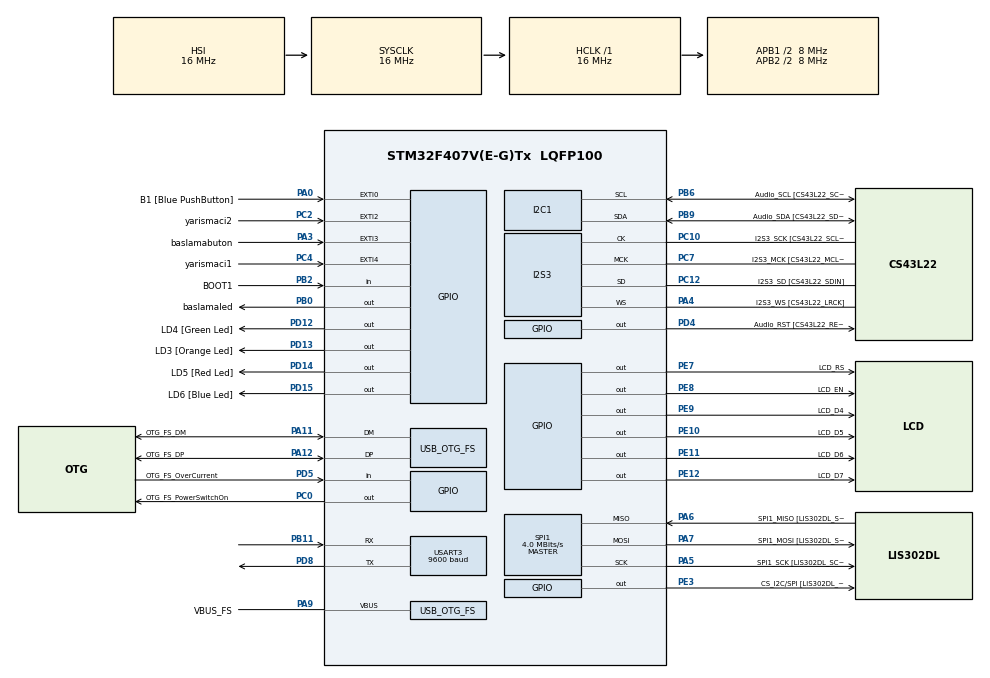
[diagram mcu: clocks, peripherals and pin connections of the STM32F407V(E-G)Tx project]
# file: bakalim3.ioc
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I2S3.AudioFreq=I2S_AUDIOFREQ_96K
I2S3.AudioFreq-Half_Duplex_Master=I2S_AUDIOFREQ_96K
I2S3.ErrorAudioFreq=- %
I2S3.ErrorAudioFreq-Half_Duplex_Master=0.8 %
I2S3.FullDuplexMode=I2S_FULLDUPLEXMODE_DISABLE
I2S3.Instance=SPI$Index
I2S3.RealAudioFreq=- Hz
I2S3.RealAudioFreq-Half_Duplex_Master=96.774 KHz
I2S3.VirtualMode=I2S_MODE_MASTER
Mcu.Family=STM32F4
Mcu.Name=STM32F407V(E-G)Tx
Mcu.Package=LQFP100
NVIC.EXTI2_IRQn=true\:1\:0\:true\:false\:true\:true\:true
NVIC.EXTI3_IRQn=true\:2\:0\:true\:false\:true\:true\:true
NVIC.EXTI4_IRQn=true\:1\:0\:true\:false\:true\:true\:true
NVIC.OTG_FS_IRQn=true\:0\:0\:false\:false\:true\:true\:true
NVIC.PriorityGroup=NVIC_PRIORITYGROUP_3
NVIC.TIM2_IRQn=true\:0\:0\:false\:false\:true\:true\:true
NVIC.USART3_IRQn=true\:0\:0\:false\:false\:true\:true\:true
PA0-WKUP.GPIO_Label=B1 [Blue PushButton]
PA0-WKUP.GPIO_ModeDefaultEXTI=GPIO_MODE_EVT_RISING
PA0-WKUP.GPIO_PuPd=GPIO_NOPULL
PA0-WKUP.Signal=GPXTI0
PA10.GPIO_Label=OTG_FS_ID
PA10.GPIO_Mode=GPIO_MODE_AF_PP
PA10.GPIO_PuPd=GPIO_NOPULL
PA10.GPIO_Speed=GPIO_SPEED_FREQ_LOW
PA10.Signal=USB_OTG_FS_ID
PA11.GPIO_Label=OTG_FS_DM
PA11.GPIO_Mode=GPIO_MODE_AF_PP
PA11.GPIO_PuPd=GPIO_NOPULL
PA11.GPIO_Speed=GPIO_SPEED_FREQ_LOW
PA11.Mode=Host_Only
PA11.Signal=USB_OTG_FS_DM
PA12.GPIO_Label=OTG_FS_DP
PA12.GPIO_Mode=GPIO_MODE_AF_PP
PA12.GPIO_PuPd=GPIO_NOPULL
PA12.GPIO_Speed=GPIO_SPEED_FREQ_LOW
PA12.Mode=Host_Only
PA12.Signal=USB_OTG_FS_DP
PA13.GPIO_Label=SWDIO
PA13.Mode=Serial_Wire
PA13.Signal=SYS_JTMS-SWDIO
PA14.GPIO_Label=SWCLK
PA14.Mode=Serial_Wire
PA14.Signal=SYS_JTCK-SWCLK
PA3.GPIO_Label=baslamabuton
PA3.GPIO_PuPd=GPIO_PULLDOWN
PA3.Signal=GPXTI3
PA4.GPIO_Label=I2S3_WS [CS43L22_LRCK]
PA4.GPIO_Mode=GPIO_MODE_AF_PP
PA4.GPIO_PuPd=GPIO_NOPULL
PA4.GPIO_Speed=GPIO_SPEED_FREQ_LOW
PA4.Mode=Half_Duplex_Master
PA4.Signal=I2S3_WS
PA5.GPIO_Label=SPI1_SCK [LIS302DL_SCL/SPC]
PA5.GPIO_Mode=GPIO_MODE_AF_PP
PA5.GPIO_PuPd=GPIO_NOPULL
PA5.GPIO_Speed=GPIO_SPEED_FREQ_LOW
PA5.Mode=Full_Duplex_Master
PA5.Signal=SPI1_SCK
PA6.GPIO_Label=SPI1_MISO [LIS302DL_SDO]
PA6.GPIO_Mode=GPIO_MODE_AF_PP
PA6.GPIO_PuPd=GPIO_NOPULL
PA6.GPIO_Speed=GPIO_SPEED_FREQ_LOW
PA6.Mode=Full_Duplex_Master
PA6.Signal=SPI1_MISO
PA7.GPIO_Label=SPI1_MOSI [LIS302DL_SDA/SDI/SDO]
PA7.GPIO_Mode=GPIO_MODE_AF_PP
PA7.GPIO_PuPd=GPIO_NOPULL
PA7.GPIO_Speed=GPIO_SPEED_FREQ_LOW
PA7.Mode=Full_Duplex_Master
PA7.Signal=SPI1_MOSI
PA9.GPIO_Label=VBUS_FS
PA9.GPIO_Mode=GPIO_MODE_INPUT
PA9.GPIO_PuPd=GPIO_NOPULL
PA9.Mode=Activate_VBUS
PA9.Signal=USB_OTG_FS_VBUS
PB0.GPIO_Label=baslamaled
PB0.Signal=GPIO_Output
PB10.GPIO_Label=CLK_IN [MP45DT02_CLK]
PB10.GPIO_Mode=GPIO_MODE_AF_PP
PB10.GPIO_PuPd=GPIO_NOPULL
PB10.GPIO_Speed=GPIO_SPEED_FREQ_LOW
PB10.Signal=I2S2_CK
PB11.Mode=Asynchronous
PB11.Signal=USART3_RX
PB2.GPIO_Label=BOOT1
PB2.GPIO_Mode=GPIO_MODE_INPUT
PB2.GPIO_PuPd=GPIO_NOPULL
PB2.Signal=GPIO_Input
PB3.GPIO_Label=SWO
PB3.Signal=SYS_JTDO-SWO
PB6.GPIO_Label=Audio_SCL [CS43L22_SCL]
PB6.GPIO_Mode=GPIO_MODE_AF_OD
PB6.GPIO_PuPd=GPIO_NOPULL
PB6.GPIO_Speed=GPIO_SPEED_FREQ_LOW
PB6.Mode=I2C
PB6.Signal=I2C1_SCL
PB9.GPIO_Label=Audio_SDA [CS43L22_SDA]
PB9.GPIO_Mode=GPIO_MODE_AF_OD
PB9.GPIO_PuPd=GPIO_NOPULL
PB9.GPIO_Speed=GPIO_SPEED_FREQ_LOW
PB9.Mode=I2C
PB9.Signal=I2C1_SDA
PC0.GPIO_Label=OTG_FS_PowerSwitchOn
PC0.GPIO_PuPd=GPIO_NOPULL
PC0.GPIO_Speed=GPIO_SPEED_FREQ_LOW
PC0.PinState=GPIO_PIN_SET
PC0.Signal=GPIO_Output
PC10.GPIO_Label=I2S3_SCK [CS43L22_SCLK]
PC10.GPIO_Mode=GPIO_MODE_AF_PP
PC10.GPIO_PuPd=GPIO_NOPULL
PC10.GPIO_Speed=GPIO_SPEED_FREQ_LOW
PC10.Mode=Half_Duplex_Master
PC10.Signal=I2S3_CK
PC12.GPIO_Label=I2S3_SD [CS43L22_SDIN]
PC12.GPIO_Mode=GPIO_MODE_AF_PP
PC12.GPIO_PuPd=GPIO_NOPULL
PC12.GPIO_Speed=GPIO_SPEED_FREQ_LOW
PC12.Mode=Half_Duplex_Master
PC12.Signal=I2S3_SD
PC14-OSC32_IN.GPIO_Label=PC14-OSC32_IN
PC14-OSC32_IN.Mode=LSE-External-Oscillator
PC14-OSC32_IN.Signal=RCC_OSC32_IN
PC15-OSC32_OUT.GPIO_Label=PC15-OSC32_OUT
PC15-OSC32_OUT.Mode=LSE-External-Oscillator
PC15-OSC32_OUT.Signal=RCC_OSC32_OUT
PC2.GPIO_Label=yarismaci2
PC2.GPIO_PuPd=GPIO_PULLDOWN
PC2.Signal=GPXTI2
PC3.GPIO_Label=PDM_OUT [MP45DT02_DOUT]
PC3.GPIO_Mode=GPIO_MODE_AF_PP
PC3.GPIO_PuPd=GPIO_NOPULL
PC3.GPIO_Speed=GPIO_SPEED_FREQ_LOW
PC3.Signal=I2S2_SD
PC4.GPIO_Label=yarismaci1
PC4.GPIO_PuPd=GPIO_PULLDOWN
PC4.Signal=GPXTI4
PC7.GPIO_Label=I2S3_MCK [CS43L22_MCLK]
PC7.GPIO_Mode=GPIO_MODE_AF_PP
PC7.GPIO_PuPd=GPIO_NOPULL
PC7.GPIO_Speed=GPIO_SPEED_FREQ_LOW
PC7.Mode=Master_Clock_Activated
PC7.Signal=I2S3_MCK
PD12.GPIO_Label=LD4 [Green Led]
PD12.GPIO_PuPd=GPIO_NOPULL
PD12.GPIO_Speed=GPIO_SPEED_FREQ_LOW
PD12.Signal=GPIO_Output
PD13.GPIO_Label=LD3 [Orange Led]
PD13.GPIO_PuPd=GPIO_NOPULL
PD13.GPIO_Speed=GPIO_SPEED_FREQ_LOW
PD13.Signal=GPIO_Output
PD14.GPIO_Label=LD5 [Red Led]
PD14.GPIO_PuPd=GPIO_NOPULL
PD14.GPIO_Speed=GPIO_SPEED_FREQ_LOW
PD14.Signal=GPIO_Output
PD15.GPIO_Label=LD6 [Blue Led]
PD15.GPIO_PuPd=GPIO_NOPULL
PD15.GPIO_Speed=GPIO_SPEED_FREQ_LOW
PD15.Signal=GPIO_Output
PD4.GPIO_Label=Audio_RST [CS43L22_RESET]
PD4.GPIO_PuPd=GPIO_NOPULL
PD4.GPIO_Speed=GPIO_SPEED_FREQ_LOW
PD4.Signal=GPIO_Output
PD5.GPIO_Label=OTG_FS_OverCurrent
PD5.GPIO_Mode=GPIO_MODE_INPUT
PD5.GPIO_PuPd=GPIO_NOPULL
PD5.Signal=GPIO_Input
PD8.Mode=Asynchronous
PD8.Signal=USART3_TX
PE10.GPIO_Label=LCD_D5
PE10.Signal=GPIO_Output
PE11.GPIO_Label=LCD_D6
PE11.Signal=GPIO_Output
PE12.GPIO_Label=LCD_D7
PE12.Signal=GPIO_Output
PE3.GPIO_Label=CS_I2C/SPI [LIS302DL_CS_I2C/SPI]
PE3.GPIO_PuPd=GPIO_NOPULL
PE3.GPIO_Speed=GPIO_SPEED_FREQ_LOW
PE3.Signal=GPIO_Output
PE7.GPIO_Label=LCD_RS
PE7.Signal=GPIO_Output
PE8.GPIO_Label=LCD_EN
PE8.Signal=GPIO_Output
PE9.GPIO_Label=LCD_D4
PE9.Signal=GPIO_Output
PH0-OSC_IN.GPIO_Label=PH0-OSC_IN
PH0-OSC_IN.Mode=HSE-External-Oscillator
PH0-OSC_IN.Signal=RCC_OSC_IN
PH1-OSC_OUT.GPIO_Label=PH1-OSC_OUT
PH1-OSC_OUT.Mode=HSE-External-Oscillator
PH1-OSC_OUT.Signal=RCC_OSC_OUT
ProjectManager.HeapSize=0x200
ProjectManager.StackSize=0x400
ProjectManager.TargetToolchain=STM32CubeIDE
RCC.48MHZClocksFreq_Value=48000000
RCC.AHBFreq_Value=16000000
RCC.APB1CLKDivider=RCC_HCLK_DIV2
RCC.APB1Freq_Value=8000000
RCC.APB1TimFreq_Value=16000000
RCC.APB2CLKDivider=RCC_HCLK_DIV2
RCC.APB2Freq_Value=8000000
RCC.APB2TimFreq_Value=16000000
RCC.CortexFreq_Value=16000000
RCC.HCLKFreq_Value=16000000
RCC.HSE_VALUE=8000000
RCC.HSI_VALUE=16000000
RCC.PLLI2SN=50
RCC.PLLM=4
RCC.PLLN=72
RCC.PLLQ=3
RCC.SYSCLKFreq_VALUE=16000000
RCC.VCOOutputFreq_Value=144000000
SPI1.BaudRatePrescaler-Full_Duplex_Master=SPI_BAUDRATEPRESCALER_2
SPI1.CalculateBaudRate=4.0 MBits/s
SPI1.CalculateBaudRate-Full_Duplex_Master=42.0 MBits/s
SPI1.Direction=SPI_DIRECTION_2LINES
SPI1.Mode=SPI_MODE_MASTER
SPI1.Mode-Full_Duplex_Master=SPI_MODE_MASTER
SPI1.VirtualType=VM_MASTER
TIM2.Period=9
TIM2.Prescaler=15999
TIM9.Prescaler=15999
USART3.BaudRate=9600
USART3.VirtualMode=VM_ASYNC
USB_HOST.BSP.number=1
USB_HOST.USBH_HandleTypeDef-CDC_FS=hUsbHostFS
USB_HOST.VirtualModeFS=Cdc
USB_HOST0.BSP.STBoard=false
USB_HOST0.BSP.api=Unknown
USB_HOST0.BSP.i2caddr=0
USB_HOST0.BSP.i2creg=0
USB_HOST0.BSP.instance=PC0
USB_HOST0.BSP.ip=GPIO
USB_HOST0.BSP.mode=Output
USB_HOST0.BSP.name=Drive_VBUS_FS
USB_HOST0.BSP.solution=PC0
USB_OTG_FS.VirtualMode=Host_Only
USB_OTG_FS.phy_itface=HCD_PHY_EMBEDDED
VP_TIM2_VS_ClockSourceINT.Mode=Internal
VP_TIM9_VS_ClockSourceINT.Mode=Internal
VP_USB_HOST_VS_USB_HOST_CDC_FS.Mode=CDC_FS
board=STM32F407G-DISC1

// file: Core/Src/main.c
/* USER CODE BEGIN Header */
/**
 ******************************************************************************
 * @file           : main.c
 * @brief          : Main program body
 ******************************************************************************
 * @attention
 *
 * <h2><center>&copy; Copyright (c) 2021 STMicroelectronics.
 * All rights reserved.</center></h2>
 *
 * This software component is licensed by ST under Ultimate Liberty license
 * SLA0044, the "License"; You may not use this file except in compliance with
 * the License. You may obtain a copy of the License at:
 *                             www.st.com/SLA0044
 *
 ******************************************************************************
 */
/* USER CODE END Header */
#include "main.h"
#include "usb_host.h"

/* USER CODE BEGIN Includes */
#include "stdlib.h"
#include "time.h"
#include <stdio.h>
#include "LCD.h"
#include "string.h"

/* USER CODE END Includes */

I2C_HandleTypeDef hi2c1;

I2S_HandleTypeDef hi2s3;

SPI_HandleTypeDef hspi1;

TIM_HandleTypeDef htim2;
TIM_HandleTypeDef htim9;

UART_HandleTypeDef huart3;

/* USER CODE BEGIN PV */

char mesaj[16];
int count = 0;

char tx_buffer[32];
int isimGirildiBayrak = 0;
int ledbayragi = 0;
int hatabayragi = 0;
int yarismaci1bayrak = 0;
int yarismaci2bayrak = 0;
int saniye1 = 0;
int saniye2 = 0;
int baslabayragi = 0;
char veri[16] = { 0 };
char veri2[16] = { 0 };

char isim1[16];
char isim2[16];
char Rx_data[1];
char message[16];
char gelcek[16];
int isimAlmaBayrak = 0;
int i = 0;
int isim1skor = 0;
int isim2skor = 0;
char isim1sayac[4];
char isim2sayac[4];
char isim11[16];
char isim22[16];
char isim11sayac[4];

/* USER CODE END PV */

void SystemClock_Config(void);
static void MX_GPIO_Init(void);
static void MX_I2C1_Init(void);
static void MX_I2S3_Init(void);
static void MX_SPI1_Init(void);
static void MX_TIM2_Init(void);
static void MX_TIM9_Init(void);
static void MX_USART3_UART_Init(void);
void MX_USB_HOST_Process(void);

/* USER CODE BEGIN PFP */
void mydelay(int delay);
void kirmalimydelay(int delay);

/* USER CODE END PFP */

/* USER CODE BEGIN 0 */
void kirmalimydelay(int delay) {
	htim9.Instance->CNT = 0;
	HAL_TIM_Base_Start(&htim9);
	while (htim9.Instance->CNT < delay) {
		if (hatabayragi == 1) {
			break;
		}
	}
}
void mydelay(int delay) {
	htim9.Instance->CNT = 0;
	HAL_TIM_Base_Start(&htim9);
	while (htim9.Instance->CNT < delay) {
	}
}

void isimsiz1_hatalibasim_yazdirma(void) {
	lcd_clear();
	mydelay(100);
	hatabayragi = 1;
	lcd_print(1, 1, "1.Yarismaci");
	mydelay(100);
	lcd_print(2, 1, "Elendi...");
	mydelay(5000);
}
void isimsiz2_hatalibasim_yazdirma(void) {
	lcd_clear();
	mydelay(100);
	lcd_print(1, 1, "2.Yarismaci");
	mydelay(100);
	hatabayragi = 1;
	lcd_print(2, 1, "Elendi...");
	mydelay(5000);
}
void isimli1_hatalibasim_yazdirma(void) {
	lcd_clear();
	mydelay(100);
	hatabayragi = 1;
	lcd_print(1, 1, isim1);
	mydelay(100);
	lcd_print(2, 1, "Elendi...");
	mydelay(5000);

}
void isimli2_hatalibasim_yazdirma(void) {
	lcd_clear();
	mydelay(100);
	lcd_print(1, 1, isim2);
	mydelay(100);
	hatabayragi = 1;
	lcd_print(2, 1, "Elendi...");
	mydelay(5000);

}
void isimli_sureleri_yazdir(void) {
	lcd_clear();
	mydelay(100);
	lcd_print(1, 1, isim1);
	mydelay(100);
	sprintf(mesaj, "%d msn", saniye1);
	lcd_print(1, 9, mesaj);
	mydelay(100);
	lcd_print(2, 1, isim2);
	sprintf(mesaj, "%d msn", saniye2);
	lcd_print(2, 9, mesaj);
	mydelay(3000);

}
void isimli_kazanan_1_yazdirma_gonderme(void) {
	lcd_clear();
	mydelay(200);
	lcd_print(1, 1, isim1);
	mydelay(100);
	lcd_print(2, 1, "Kazandi.");
	strcpy(isim11, isim1);
	strcat(isim11, "|");
	HAL_UART_Transmit(&huart3, isim11, strlen(isim11), 1000);
	isim1skor = isim1skor + 1;
	itoa(isim1skor, isim1sayac, 10);
	itoa(isim2skor, isim2sayac, 10);
	strcpy(isim11sayac, isim1sayac);
	strcat(isim11sayac, "|");
	HAL_UART_Transmit(&huart3, isim11sayac, strlen(isim11sayac), 1000);
	HAL_UART_Transmit(&huart3, isim2sayac, strlen(isim2sayac), 1000);
	strcpy(isim11, "");
	mydelay(3000);

}
void isimli_kazanan_2_yazdirma_gonderme(void) {
	lcd_clear();
	mydelay(100);
	lcd_print(1, 1, isim2);
	mydelay(100);
	lcd_print(2, 1, "Kazandi.");
	strcpy(isim22, isim2);
	strcat(isim22, "|");
	HAL_UART_Transmit(&huart3, isim22, strlen(isim22), 1000);
	isim2skor = isim2skor + 1;
	itoa(isim1skor, isim1sayac, 10);
	itoa(isim2skor, isim2sayac, 10);
	strcpy(isim11sayac, isim1sayac);
	strcat(isim11sayac, "|");
	HAL_UART_Transmit(&huart3, isim11sayac, strlen(isim11sayac), 1000);
	HAL_UART_Transmit(&huart3, isim2sayac, strlen(isim2sayac), 1000);
	mydelay(3000);
}
void isimsiz_sureleri_yazdir() {
	lcd_clear();
	mydelay(100);
	sprintf(mesaj, "1.time : %d msn", saniye1);
	lcd_print(1, 1, mesaj);
	mydelay(100);
	sprintf(mesaj, "2.time : %d msn", saniye2);
	lcd_print(2, 1, mesaj);
	mydelay(3000);
}
void isimsiz_kazanan_1_yazdirma(void) {
	lcd_clear();
	mydelay(100);
	lcd_print(1, 1, "1.Yarismaci");
	mydelay(100);
	lcd_print(2, 1, "Kazandi.");
	mydelay(3000);

}
void isimsiz_kazanan_2_yazdirma(void) {
	lcd_clear();
	mydelay(100);
	lcd_print(1, 1, "2.Yarismaci");
	mydelay(100);
	lcd_print(2, 1, "Kazandi.");
	mydelay(3000);

}

/* USER CODE END 0 */

int main(void) {

	/* MCU Configuration--------------------------------------------------------*/

	/* Reset of all peripherals, Initializes the Flash interface and the Systick. */
	HAL_Init();

	/* Configure the system clock */
	SystemClock_Config();

	/* Initialize all configured peripherals */
	MX_GPIO_Init();
	MX_I2C1_Init();
	MX_I2S3_Init();
	MX_SPI1_Init();
	MX_USB_HOST_Init();
	MX_TIM2_Init();
	MX_TIM9_Init();
	MX_USART3_UART_Init();
	/* USER CODE BEGIN 2 */
	lcd_init(_LCD_4BIT, _LCD_FONT_5x8, _LCD_2LINE);
	mydelay(50);
	lcd_clear();
	mydelay(50);
	srand(time(NULL));
	HAL_UART_Receive_IT(&huart3, Rx_data, 1);
	strcpy(isim1, "");
	strcpy(isim2, "");
	strcpy(gelcek, "");

	/* USER CODE END 2 */

	/* Infinite loop */
	while (1) {
		MX_USB_HOST_Process();

		/* USER CODE BEGIN 3 */
		HAL_TIM_Base_Stop_IT(&htim2);
		ledbayragi = 0;
		HAL_GPIO_WritePin(baslamaled_GPIO_Port, baslamaled_Pin, 0);
		hatabayragi = 0;
		baslabayragi = 0;
		yarismaci1bayrak = 0;
		yarismaci2bayrak = 0;
		saniye1 = 0;
		saniye2 = 0;
		lcd_clear();
		mydelay(100);
		lcd_print(1, 1, "Basla Veya");
		mydelay(100);
		lcd_print(2, 1, "Isim Gir...");
		mydelay(100);
		while (1) {
			if (isimAlmaBayrak == 1) {
				strcpy(isim1, message);
				isimAlmaBayrak = 0;
				isim1skor = 0;
				strcpy(message, "");
				isim2skor = 0;
				break;
			}
			if (baslabayragi == 1) {
				break;
			}
		}
		mydelay(50);
		while (1) {
			if (isimAlmaBayrak == 1) {
				strcpy(isim2, message);
				isimAlmaBayrak = 0;
				isim1skor = 0;
				isim2skor = 0;
				isimGirildiBayrak = 1;
				strcpy(message, "");
				break;
			}
			if (baslabayragi == 1) {
				break;
			}
		}
		lcd_clear();
		mydelay(100);
		lcd_print(1, 1, isim1);
		mydelay(100);
		lcd_print(1, 13, "VS");
		mydelay(100);
		lcd_print(2, 1, isim2);
		while (1) {
			if (baslabayragi == 1) {
				break;
			}
		}
	}
	/* USER CODE END 3 */
}

void SystemClock_Config(void) {
	RCC_OscInitTypeDef RCC_OscInitStruct = { 0 };
	RCC_ClkInitTypeDef RCC_ClkInitStruct = { 0 };
	RCC_PeriphCLKInitTypeDef PeriphClkInitStruct = { 0 };

	/** Configure the main internal regulator output voltage
	 */
	__HAL_RCC_PWR_CLK_ENABLE();
	__HAL_PWR_VOLTAGESCALING_CONFIG(PWR_REGULATOR_VOLTAGE_SCALE1);
	/** Initializes the RCC Oscillators according to the specified parameters
	 * in the RCC_OscInitTypeDef structure.
	 */
	RCC_OscInitStruct.OscillatorType = RCC_OSCILLATORTYPE_HSI
			| RCC_OSCILLATORTYPE_HSE;
	RCC_OscInitStruct.HSEState = RCC_HSE_ON;
	RCC_OscInitStruct.HSIState = RCC_HSI_ON;
	RCC_OscInitStruct.HSICalibrationValue = RCC_HSICALIBRATION_DEFAULT;
	RCC_OscInitStruct.PLL.PLLState = RCC_PLL_ON;
	RCC_OscInitStruct.PLL.PLLSource = RCC_PLLSOURCE_HSE;
	RCC_OscInitStruct.PLL.PLLM = 8;
	RCC_OscInitStruct.PLL.PLLN = 336;
	RCC_OscInitStruct.PLL.PLLP = RCC_PLLP_DIV2;
	RCC_OscInitStruct.PLL.PLLQ = 7;
	if (HAL_RCC_OscConfig(&RCC_OscInitStruct) != HAL_OK) {
		Error_Handler();
	}
	/** Initializes the CPU, AHB and APB buses clocks
	 */
	RCC_ClkInitStruct.ClockType = RCC_CLOCKTYPE_HCLK | RCC_CLOCKTYPE_SYSCLK
			| RCC_CLOCKTYPE_PCLK1 | RCC_CLOCKTYPE_PCLK2;
	RCC_ClkInitStruct.SYSCLKSource = RCC_SYSCLKSOURCE_HSI;
	RCC_ClkInitStruct.AHBCLKDivider = RCC_SYSCLK_DIV1;
	RCC_ClkInitStruct.APB1CLKDivider = RCC_HCLK_DIV2;
	RCC_ClkInitStruct.APB2CLKDivider = RCC_HCLK_DIV2;

	if (HAL_RCC_ClockConfig(&RCC_ClkInitStruct, FLASH_LATENCY_0) != HAL_OK) {
		Error_Handler();
	}
	PeriphClkInitStruct.PeriphClockSelection = RCC_PERIPHCLK_I2S;
	PeriphClkInitStruct.PLLI2S.PLLI2SN = 192;
	PeriphClkInitStruct.PLLI2S.PLLI2SR = 2;
	if (HAL_RCCEx_PeriphCLKConfig(&PeriphClkInitStruct) != HAL_OK) {
		Error_Handler();
	}
}

static void MX_I2C1_Init(void) {

	hi2c1.Instance = I2C1;
	hi2c1.Init.ClockSpeed = 100000;
	hi2c1.Init.DutyCycle = I2C_DUTYCYCLE_2;
	hi2c1.Init.OwnAddress1 = 0;
	hi2c1.Init.AddressingMode = I2C_ADDRESSINGMODE_7BIT;
	hi2c1.Init.DualAddressMode = I2C_DUALADDRESS_DISABLE;
	hi2c1.Init.OwnAddress2 = 0;
	hi2c1.Init.GeneralCallMode = I2C_GENERALCALL_DISABLE;
	hi2c1.Init.NoStretchMode = I2C_NOSTRETCH_DISABLE;
	if (HAL_I2C_Init(&hi2c1) != HAL_OK) {
		Error_Handler();
	}

}

static void MX_I2S3_Init(void) {

	hi2s3.Instance = SPI3;
	hi2s3.Init.Mode = I2S_MODE_MASTER_TX;
	hi2s3.Init.Standard = I2S_STANDARD_PHILIPS;
	hi2s3.Init.DataFormat = I2S_DATAFORMAT_16B;
	hi2s3.Init.MCLKOutput = I2S_MCLKOUTPUT_ENABLE;
	hi2s3.Init.AudioFreq = I2S_AUDIOFREQ_96K;
	hi2s3.Init.CPOL = I2S_CPOL_LOW;
	hi2s3.Init.ClockSource = I2S_CLOCK_PLL;
	hi2s3.Init.FullDuplexMode = I2S_FULLDUPLEXMODE_DISABLE;
	if (HAL_I2S_Init(&hi2s3) != HAL_OK) {
		Error_Handler();
	}

}

static void MX_SPI1_Init(void) {

	/* SPI1 parameter configuration*/
	hspi1.Instance = SPI1;
	hspi1.Init.Mode = SPI_MODE_MASTER;
	hspi1.Init.Direction = SPI_DIRECTION_2LINES;
	hspi1.Init.DataSize = SPI_DATASIZE_8BIT;
	hspi1.Init.CLKPolarity = SPI_POLARITY_LOW;
	hspi1.Init.CLKPhase = SPI_PHASE_1EDGE;
	hspi1.Init.NSS = SPI_NSS_SOFT;
	hspi1.Init.BaudRatePrescaler = SPI_BAUDRATEPRESCALER_2;
	hspi1.Init.FirstBit = SPI_FIRSTBIT_MSB;
	hspi1.Init.TIMode = SPI_TIMODE_DISABLE;
	hspi1.Init.CRCCalculation = SPI_CRCCALCULATION_DISABLE;
	hspi1.Init.CRCPolynomial = 10;
	if (HAL_SPI_Init(&hspi1) != HAL_OK) {
		Error_Handler();
	}

}

static void MX_TIM2_Init(void) {

	TIM_ClockConfigTypeDef sClockSourceConfig = { 0 };
	TIM_MasterConfigTypeDef sMasterConfig = { 0 };

	htim2.Instance = TIM2;
	htim2.Init.Prescaler = 15999;
	htim2.Init.CounterMode = TIM_COUNTERMODE_UP;
	htim2.Init.Period = 9;
	htim2.Init.ClockDivision = TIM_CLOCKDIVISION_DIV1;
	htim2.Init.AutoReloadPreload = TIM_AUTORELOAD_PRELOAD_DISABLE;
	if (HAL_TIM_Base_Init(&htim2) != HAL_OK) {
		Error_Handler();
	}
	sClockSourceConfig.ClockSource = TIM_CLOCKSOURCE_INTERNAL;
	if (HAL_TIM_ConfigClockSource(&htim2, &sClockSourceConfig) != HAL_OK) {
		Error_Handler();
	}
	sMasterConfig.MasterOutputTrigger = TIM_TRGO_RESET;
	sMasterConfig.MasterSlaveMode = TIM_MASTERSLAVEMODE_DISABLE;
	if (HAL_TIMEx_MasterConfigSynchronization(&htim2, &sMasterConfig)
			!= HAL_OK) {
		Error_Handler();
	}

}

static void MX_TIM9_Init(void) {

	TIM_ClockConfigTypeDef sClockSourceConfig = { 0 };

	htim9.Instance = TIM9;
	htim9.Init.Prescaler = 15999;
	htim9.Init.CounterMode = TIM_COUNTERMODE_UP;
	htim9.Init.Period = 65535;
	htim9.Init.ClockDivision = TIM_CLOCKDIVISION_DIV1;
	htim9.Init.AutoReloadPreload = TIM_AUTORELOAD_PRELOAD_DISABLE;
	if (HAL_TIM_Base_Init(&htim9) != HAL_OK) {
		Error_Handler();
	}
	sClockSourceConfig.ClockSource = TIM_CLOCKSOURCE_INTERNAL;
	if (HAL_TIM_ConfigClockSource(&htim9, &sClockSourceConfig) != HAL_OK) {
		Error_Handler();
	}

}

static void MX_USART3_UART_Init(void) {

	huart3.Instance = USART3;
	huart3.Init.BaudRate = 9600;
	huart3.Init.WordLength = UART_WORDLENGTH_8B;
	huart3.Init.StopBits = UART_STOPBITS_1;
	huart3.Init.Parity = UART_PARITY_NONE;
	huart3.Init.Mode = UART_MODE_TX_RX;
	huart3.Init.HwFlowCtl = UART_HWCONTROL_NONE;
	huart3.Init.OverSampling = UART_OVERSAMPLING_16;
	if (HAL_UART_Init(&huart3) != HAL_OK) {
		Error_Handler();
	}

}

static void MX_GPIO_Init(void) {
	GPIO_InitTypeDef GPIO_InitStruct = { 0 };

	/* GPIO Ports Clock Enable */
	__HAL_RCC_GPIOE_CLK_ENABLE();
	__HAL_RCC_GPIOC_CLK_ENABLE();
	__HAL_RCC_GPIOH_CLK_ENABLE();
	__HAL_RCC_GPIOA_CLK_ENABLE();
	__HAL_RCC_GPIOB_CLK_ENABLE();
	__HAL_RCC_GPIOD_CLK_ENABLE();

	/*Configure GPIO pin Output Level */
	HAL_GPIO_WritePin(GPIOE,
			CS_I2C_SPI_Pin | LCD_RS_Pin | LCD_EN_Pin | LCD_D4_Pin | LCD_D5_Pin
					| LCD_D6_Pin | LCD_D7_Pin, GPIO_PIN_RESET);

	/*Configure GPIO pin Output Level */
	HAL_GPIO_WritePin(OTG_FS_PowerSwitchOn_GPIO_Port, OTG_FS_PowerSwitchOn_Pin,
			GPIO_PIN_SET);

	/*Configure GPIO pin Output Level */
	HAL_GPIO_WritePin(baslamaled_GPIO_Port, baslamaled_Pin, GPIO_PIN_RESET);

	/*Configure GPIO pin Output Level */
	HAL_GPIO_WritePin(GPIOD,
	LD4_Pin | LD3_Pin | LD5_Pin | LD6_Pin | Audio_RST_Pin, GPIO_PIN_RESET);

	/*Configure GPIO pins : CS_I2C_SPI_Pin LCD_RS_Pin LCD_EN_Pin LCD_D4_Pin
	 LCD_D5_Pin LCD_D6_Pin LCD_D7_Pin */
	GPIO_InitStruct.Pin = CS_I2C_SPI_Pin | LCD_RS_Pin | LCD_EN_Pin | LCD_D4_Pin
			| LCD_D5_Pin | LCD_D6_Pin | LCD_D7_Pin;
	GPIO_InitStruct.Mode = GPIO_MODE_OUTPUT_PP;
	GPIO_InitStruct.Pull = GPIO_NOPULL;
	GPIO_InitStruct.Speed = GPIO_SPEED_FREQ_LOW;
	HAL_GPIO_Init(GPIOE, &GPIO_InitStruct);

	/*Configure GPIO pin : OTG_FS_PowerSwitchOn_Pin */
	GPIO_InitStruct.Pin = OTG_FS_PowerSwitchOn_Pin;
	GPIO_InitStruct.Mode = GPIO_MODE_OUTPUT_PP;
	GPIO_InitStruct.Pull = GPIO_NOPULL;
	GPIO_InitStruct.Speed = GPIO_SPEED_FREQ_LOW;
	HAL_GPIO_Init(OTG_FS_PowerSwitchOn_GPIO_Port, &GPIO_InitStruct);

	/*Configure GPIO pins : yarismaci2_Pin yarismaci1_Pin */
	GPIO_InitStruct.Pin = yarismaci2_Pin | yarismaci1_Pin;
	GPIO_InitStruct.Mode = GPIO_MODE_IT_RISING;
	GPIO_InitStruct.Pull = GPIO_PULLDOWN;
	HAL_GPIO_Init(GPIOC, &GPIO_InitStruct);

	/*Configure GPIO pin : PDM_OUT_Pin */
	GPIO_InitStruct.Pin = PDM_OUT_Pin;
	GPIO_InitStruct.Mode = GPIO_MODE_AF_PP;
	GPIO_InitStruct.Pull = GPIO_NOPULL;
	GPIO_InitStruct.Speed = GPIO_SPEED_FREQ_LOW;
	GPIO_InitStruct.Alternate = GPIO_AF5_SPI2;
	HAL_GPIO_Init(PDM_OUT_GPIO_Port, &GPIO_InitStruct);

	/*Configure GPIO pin : B1_Pin */
	GPIO_InitStruct.Pin = B1_Pin;
	GPIO_InitStruct.Mode = GPIO_MODE_EVT_RISING;
	GPIO_InitStruct.Pull = GPIO_NOPULL;
	HAL_GPIO_Init(B1_GPIO_Port, &GPIO_InitStruct);

	/*Configure GPIO pin : baslamabuton_Pin */
	GPIO_InitStruct.Pin = baslamabuton_Pin;
	GPIO_InitStruct.Mode = GPIO_MODE_IT_RISING;
	GPIO_InitStruct.Pull = GPIO_PULLDOWN;
	HAL_GPIO_Init(baslamabuton_GPIO_Port, &GPIO_InitStruct);

	/*Configure GPIO pin : baslamaled_Pin */
	GPIO_InitStruct.Pin = baslamaled_Pin;
	GPIO_InitStruct.Mode = GPIO_MODE_OUTPUT_PP;
	GPIO_InitStruct.Pull = GPIO_NOPULL;
	GPIO_InitStruct.Speed = GPIO_SPEED_FREQ_LOW;
	HAL_GPIO_Init(baslamaled_GPIO_Port, &GPIO_InitStruct);

	/*Configure GPIO pin : BOOT1_Pin */
	GPIO_InitStruct.Pin = BOOT1_Pin;
	GPIO_InitStruct.Mode = GPIO_MODE_INPUT;
	GPIO_InitStruct.Pull = GPIO_NOPULL;
	HAL_GPIO_Init(BOOT1_GPIO_Port, &GPIO_InitStruct);

	/*Configure GPIO pin : CLK_IN_Pin */
	GPIO_InitStruct.Pin = CLK_IN_Pin;
	GPIO_InitStruct.Mode = GPIO_MODE_AF_PP;
	GPIO_InitStruct.Pull = GPIO_NOPULL;
	GPIO_InitStruct.Speed = GPIO_SPEED_FREQ_LOW;
	GPIO_InitStruct.Alternate = GPIO_AF5_SPI2;
	HAL_GPIO_Init(CLK_IN_GPIO_Port, &GPIO_InitStruct);

	/*Configure GPIO pins : LD4_Pin LD3_Pin LD5_Pin LD6_Pin
	 Audio_RST_Pin */
	GPIO_InitStruct.Pin = LD4_Pin | LD3_Pin | LD5_Pin | LD6_Pin | Audio_RST_Pin;
	GPIO_InitStruct.Mode = GPIO_MODE_OUTPUT_PP;
	GPIO_InitStruct.Pull = GPIO_NOPULL;
	GPIO_InitStruct.Speed = GPIO_SPEED_FREQ_LOW;
	HAL_GPIO_Init(GPIOD, &GPIO_InitStruct);

	/*Configure GPIO pin : OTG_FS_OverCurrent_Pin */
	GPIO_InitStruct.Pin = OTG_FS_OverCurrent_Pin;
	GPIO_InitStruct.Mode = GPIO_MODE_INPUT;
	GPIO_InitStruct.Pull = GPIO_NOPULL;
	HAL_GPIO_Init(OTG_FS_OverCurrent_GPIO_Port, &GPIO_InitStruct);

	/* EXTI interrupt init*/
	HAL_NVIC_SetPriority(EXTI2_IRQn, 1, 0);
	HAL_NVIC_EnableIRQ(EXTI2_IRQn);

	HAL_NVIC_SetPriority(EXTI3_IRQn, 2, 0);
	HAL_NVIC_EnableIRQ(EXTI3_IRQn);

	HAL_NVIC_SetPriority(EXTI4_IRQn, 1, 0);
	HAL_NVIC_EnableIRQ(EXTI4_IRQn);

}

/* USER CODE BEGIN 4 */

void HAL_UART_RxCpltCallback(UART_HandleTypeDef *huart) {

	if (Rx_data[0] == '.') {
		strcpy(message, (char*) gelcek);
		strcpy(gelcek, "");
		isimAlmaBayrak = 1;
	} else {
		strcat(gelcek, (char*) Rx_data);
	}
	HAL_UART_Receive_IT(&huart3, Rx_data, 1);
}

void HAL_TIM_PeriodElapsedCallback(TIM_HandleTypeDef *htim) {
	count = count + 10;

}

void HAL_GPIO_EXTI_Callback(uint16_t GPIO_Pin) {

	if (GPIO_Pin == yarismaci1_Pin) {
		if (ledbayragi == 0) {
			if (isimGirildiBayrak == 0) {
				isimsiz1_hatalibasim_yazdirma();

			} else if (isimGirildiBayrak == 1) {
				isimli1_hatalibasim_yazdirma();

			}
		} else {
			lcd_clear();
			saniye1 = count;
			yarismaci1bayrak = 1;
		}
	}
	if (GPIO_Pin == yarismaci2_Pin) {
		if (ledbayragi == 0) {
			if (isimGirildiBayrak == 0) {
				isimsiz2_hatalibasim_yazdirma();
			} else if (isimGirildiBayrak == 1) {
				isimli2_hatalibasim_yazdirma();
			}
		} else {
			lcd_clear();
			saniye2 = count;
			yarismaci2bayrak = 1;
		}
	}
	if (GPIO_Pin == baslamabuton_Pin) {
		baslabayragi = 1;
		ledbayragi = 0;
		hatabayragi = 0;
		mydelay(100);
		lcd_clear();
		mydelay(100);
		lcd_print(1, 1, "Hizli Olan");
		mydelay(100);
		lcd_print(2, 1, "Kazansin!");
		HAL_GPIO_WritePin(baslamaled_GPIO_Port, baslamaled_Pin, 0);
		int sayi = (rand() % 10) + 5;
		kirmalimydelay(sayi * 1000);
		if (hatabayragi == 1) {
		} else {
			count = 0;
			htim2.Instance->CNT = 0;
			HAL_TIM_Base_Start_IT(&htim2);
			HAL_GPIO_WritePin(baslamaled_GPIO_Port, baslamaled_Pin, 1);
			ledbayragi = 1;
			while (1) {
				if (yarismaci1bayrak == 1 && yarismaci2bayrak == 1) {
					if (isimGirildiBayrak == 1) {
						isimli_sureleri_yazdir();
						if (saniye1 < saniye2) {
							isimli_kazanan_1_yazdirma_gonderme();
						} else {
							isimli_kazanan_2_yazdirma_gonderme();
						}
						break;
					} else {
						isimsiz_sureleri_yazdir();

						if (saniye1 < saniye2) {
							isimsiz_kazanan_1_yazdirma();
						} else {
							isimsiz_kazanan_2_yazdirma();
						}
						break;
					}
				}
			}

		}

	}

}

/* USER CODE END 4 */

void Error_Handler(void) {
	__disable_irq();
	while (1) {
	}
}

/************************ (C) COPYRIGHT STMicroelectronics *****END OF FILE****/
